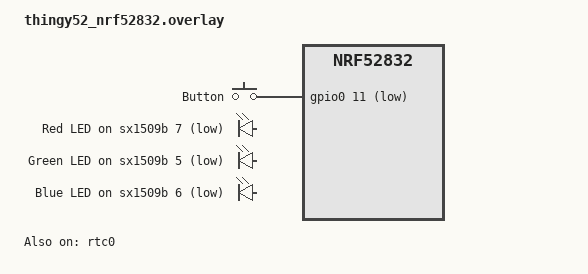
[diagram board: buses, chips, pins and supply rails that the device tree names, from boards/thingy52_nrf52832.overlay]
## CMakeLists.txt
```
cmake_minimum_required(VERSION 3.20.0)
find_package(Zephyr REQUIRED HINTS $ENV{ZEPHYR_BASE})
project(FinalProject)

target_sources(app PRIVATE src/main.c)
target_sources(app PRIVATE src/sp02_algorithm.c)
# target_sources(app PRIVATE src/heart_rate_sensor.c)
# target_sources(app PRIVATE src/temperature_sensor.c)


target_include_directories(app PRIVATE src/sp02_algorithm.h)
```

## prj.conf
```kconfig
CONFIG_I2C=y

CONFIG_UART_CONSOLE=y
CONFIG_SERIAL=y

CONFIG_MAIN_STACK_SIZE=8192

CONFIG_SENSOR=y
CONFIG_MAX30101=y

CONFIG_SHELL=y
CONFIG_SHELL_BACKEND_SERIAL=y

CONFIG_LOG=y
CONFIG_LOG_DEFAULT_LEVEL=3 
CONFIG_SHELL_LOG_BACKEND=y 

CONFIG_NEWLIB_LIBC_FLOAT_PRINTF=y
CONFIG_CBPRINTF_FP_SUPPORT=y

CONFIG_MAX30101_MULTI_LED_MODE=y
CONFIG_MAX30101_SPO2_MODE=y

CONFIG_MAX30101_LED1_PA=0x3C
CONFIG_MAX30101_LED2_PA=0x3C

CONFIG_MAX30101_SR=2
CONFIG_SHELL=y 
CONFIG_LOG=y 
CONFIG_LOG_CMDS=y 
CONFIG_SHELL_AUTOSTART=y 
CONFIG_GPIO=y 
CONFIG_HEAP_MEM_POOL_SIZE=4096 
CONFIG_COUNTER=y 
CONFIG_UART_RTT=y
CONFIG_UART_CONSOLE=n
CONFIG_RTT_CONSOLE=y 
CONFIG_USE_SEGGER_RTT=y 
CONFIG_SHELL_BACKEND_RTT=y 
CONFIG_SHELL_LOG_BACKEND=y
CONFIG_LOG_BACKEND_RTT_BUFFER=1 
CONFIG_LOG_BACKEND_RTT_BUFFER_SIZE=256
CONFIG_SEGGER_RTT_BUFFER_SIZE_UP=1024 
CONFIG_SEGGER_RTT_BUFFER_SIZE_DOWN=64 
CONFIG_NEWLIB_LIBC=y 
CONFIG_NEWLIB_LIBC_FLOAT_PRINTF=y 
CONFIG_CBPRINTF_FP_SUPPORT=y 
CONFIG_SENSOR=y 
CONFIG_I2C=y 
CONFIG_PRINTK=y
```

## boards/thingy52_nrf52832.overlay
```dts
/ {
	aliases {
		button0 = &button0;
	};

	buttons {
		compatible = "gpio-keys";
		button0: button_0 {
			gpios = <&gpio0 11 (GPIO_PULL_UP | GPIO_ACTIVE_LOW)>;
			label = "Button";
			zephyr,code = <INPUT_KEY_0>;
		};
	};

};


&rtc0 {
	    status = "okay";
};



/ {
	aliases {
		led0 = &led0;
		led1 = &led1;
		led2 = &led2;
		sw0 = &button0;
		watchdog0 = &wdt0;
		accel0 = &lis2dh12;
	};

	leds {
		compatible = "gpio-leds";
		/* Lightwell RGB */
		led0: led_0 {
			gpios = <&sx1509b 7 GPIO_ACTIVE_LOW>;
			label = "Red LED";
			//vin-supply = <&vdd_pwr>;
		};
		led1: led_1 {
			gpios = <&sx1509b 5 GPIO_ACTIVE_LOW>;
			label = "Green LED";
			//vin-supply = <&vdd_pwr>;
		};
		led2: led_2 {
			gpios = <&sx1509b 6 GPIO_ACTIVE_LOW>;
			label = "Blue LED";
			//vin-supply = <&vdd_pwr>;
		};
	};
};
```

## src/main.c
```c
#include <zephyr/kernel.h>
#include <zephyr/device.h>
#include <zephyr/drivers/rtc.h>
#include <zephyr/sys/util.h>

#include <zephyr/shell/shell.h>
#include <zephyr/logging/log.h>
#include <zephyr/logging/log_ctrl.h>

#include <zephyr/drivers/i2c.h>
#include <zephyr/sys/printk.h>

#include <zephyr/drivers/sensor.h>

#include <stdlib.h>

#include <zephyr/drivers/sensor/ccs811.h>
#include <stdio.h>

#define DT_DRV_COMPAT maxim_max30101

#define MAX30101_REG_INT_STS1		0x00
#define MAX30101_REG_INT_STS2		0x01
#define MAX30101_REG_INT_EN1		0x02
#define MAX30101_REG_INT_EN2		0x03
#define MAX30101_REG_FIFO_WR		0x04
#define MAX30101_REG_FIFO_OVF		0x05
#define MAX30101_REG_FIFO_RD		0x06
#define MAX30101_REG_FIFO_DATA		0x07
#define MAX30101_REG_FIFO_CFG		0x08
#define MAX30101_REG_MODE_CFG		0x09
#define MAX30101_REG_SPO2_CFG		0x0a
#define MAX30101_REG_LED1_PA		0x0c
#define MAX30101_REG_LED2_PA		0x0d
#define MAX30101_REG_LED3_PA		0x0e
#define MAX30101_REG_PILOT_PA		0x10
#define MAX30101_REG_MULTI_LED		0x11
#define MAX30101_REG_TINT		0x1f
#define MAX30101_REG_TFRAC		0x20
#define MAX30101_REG_TEMP_CFG		0x21
#define MAX30101_REG_PROX_INT		0x30
#define MAX30101_REG_REV_ID		0xfe
#define MAX30101_REG_PART_ID		0xff

#define MAX30101_INT_PPG_MASK		(1 << 6)

#define MAX30101_FIFO_CFG_SMP_AVE_SHIFT		5
#define MAX30101_FIFO_CFG_FIFO_FULL_SHIFT	0
#define MAX30101_FIFO_CFG_ROLLOVER_EN_MASK	(1 << 4)

#define MAX30101_MODE_CFG_SHDN_MASK	(1 << 7)
#define MAX30101_MODE_CFG_RESET_MASK	(1 << 6)

#define MAX30101_SPO2_ADC_RGE_SHIFT	5
#define MAX30101_SPO2_SR_SHIFT		2
#define MAX30101_SPO2_PW_SHIFT		0

#define MAX30101_PART_ID		0x15

#define MAX30101_BYTES_PER_CHANNEL	3
#define MAX30101_MAX_NUM_CHANNELS	3
#define MAX30101_MAX_BYTES_PER_SAMPLE	(MAX30101_MAX_NUM_CHANNELS * \
					 MAX30101_BYTES_PER_CHANNEL)

#define MAX30101_SLOT_LED_MASK		0x03

#define MAX30101_FIFO_DATA_BITS		18
#define MAX30101_FIFO_DATA_MASK		((1 << MAX30101_FIFO_DATA_BITS) - 1)

#define MAX30101_SPO2_PW_MASK (0x3 << MAX30101_SPO2_PW_SHIFT)

LOG_MODULE_REGISTER(max30102_logger, LOG_LEVEL_DBG); 

#define MAX30102_I2C_ADDR        0x57 // verified 

const struct device *const max30101 = DEVICE_DT_GET_ANY(maxim_max30101);

enum max30101_mode {
	MAX30101_MODE_HEART_RATE	= 2,
	MAX30101_MODE_SPO2		= 3,
	MAX30101_MODE_MULTI_LED		= 7,
};

enum max30101_slot {
	MAX30101_SLOT_DISABLED		= 0,
	MAX30101_SLOT_RED_LED1_PA,
	MAX30101_SLOT_IR_LED2_PA,
	MAX30101_SLOT_GREEN_LED3_PA,
	MAX30101_SLOT_RED_PILOT_PA,
	MAX30101_SLOT_IR_PILOT_PA,
	MAX30101_SLOT_GREEN_PILOT_PA,
};

enum max30101_led_channel {
	MAX30101_LED_CHANNEL_RED	= 0,
	MAX30101_LED_CHANNEL_IR,
	MAX30101_LED_CHANNEL_GREEN,
};

enum max30101_pw {
	MAX30101_PW_15BITS		= 0,
	MAX30101_PW_16BITS      = 1,
	MAX30101_PW_17BITS      = 2,
	MAX30101_PW_18BITS      = 3,
};

struct max30101_config {
	struct i2c_dt_spec i2c;
	uint8_t fifo;
	uint8_t spo2;
	uint8_t led_pa[MAX30101_MAX_NUM_CHANNELS];
	enum max30101_mode mode;
	enum max30101_slot slot[4];
};

struct max30101_data {
	uint32_t raw[MAX30101_MAX_NUM_CHANNELS];
	uint8_t map[MAX30101_MAX_NUM_CHANNELS];
	uint8_t num_channels;
};

static int max30101_sample_fetch(const struct device *dev,
    enum sensor_channel chan)
{
struct max30101_data *data = dev->data;
const struct max30101_config *config = dev->config;
uint8_t buffer[MAX30101_MAX_BYTES_PER_SAMPLE];
uint32_t fifo_data;
int fifo_chan;
int num_bytes;
int i;

/* Read all the active channels for one sample */
num_bytes = data->num_channels * MAX30101_BYTES_PER_CHANNEL;
if (i2c_burst_read_dt(&config->i2c, MAX30101_REG_FIFO_DATA, buffer,
     num_bytes)) {
LOG_ERR("Could not fetch sample");
return -EIO;
}

fifo_chan = 0;
for (i = 0; i < num_bytes; i += 3) {
/* Each channel is 18-bits */
fifo_data = (buffer[i] << 16) | (buffer[i + 1] << 8) |
   (buffer[i + 2]);
fifo_data &= MAX30101_FIFO_DATA_MASK;

/* Save the raw data */
data->raw[fifo_chan++] = fifo_data;
}

return 0;
}

static int max30101_channel_get(const struct device *dev,
    enum sensor_channel chan,
    struct sensor_value *val)
{
struct max30101_data *data = dev->data;
enum max30101_led_channel led_chan;
int fifo_chan;

switch (chan) {
case SENSOR_CHAN_RED:
led_chan = MAX30101_LED_CHANNEL_RED;
break;

case SENSOR_CHAN_IR:
led_chan = MAX30101_LED_CHANNEL_IR;
break;

case SENSOR_CHAN_GREEN:
led_chan = MAX30101_LED_CHANNEL_GREEN;
break;

default:
LOG_ERR("Unsupported sensor channel");
return -ENOTSUP;
}

/* Check if the led channel is active by looking up the associated fifo
* channel. If the fifo channel isn't valid, then the led channel
* isn't active.
*/
fifo_chan = data->map[led_chan];
if (fifo_chan >= MAX30101_MAX_NUM_CHANNELS) {
LOG_ERR("Inactive sensor channel");
return -ENOTSUP;
}

/* TODO: Scale the raw data to standard units */
val->val1 = data->raw[fifo_chan];
val->val2 = 0;

return 0;
}

static DEVICE_API(sensor, max30101_driver_api) = {
.sample_fetch = max30101_sample_fetch,
.channel_get = max30101_channel_get,
};

static int max30101_init(const struct device *dev)
{
	const struct max30101_config *config = dev->config;
	struct max30101_data *data = dev->data;
	uint8_t part_id;
	uint8_t mode_cfg;
	uint32_t led_chan;
	int fifo_chan;

	if (!device_is_ready(config->i2c.bus)) {
		LOG_ERR("Bus device is not ready");
		return -ENODEV;
	}

	/* Check the part id to make sure this is MAX30101 */
	if (i2c_reg_read_byte_dt(&config->i2c, MAX30101_REG_PART_ID,
				 &part_id)) {
		LOG_ERR("Could not get Part ID");
		return -EIO;
	}
	if (part_id != MAX30101_PART_ID) {
		LOG_ERR("Got Part ID 0x%02x, expected 0x%02x",
			    part_id, MAX30101_PART_ID);
		return -EIO;
	}

	/* Reset the sensor */
	if (i2c_reg_write_byte_dt(&config->i2c, MAX30101_REG_MODE_CFG,
				  MAX30101_MODE_CFG_RESET_MASK)) {
		return -EIO;
	}

	/* Wait for reset to be cleared */
	do {
		if (i2c_reg_read_byte_dt(&config->i2c, MAX30101_REG_MODE_CFG,
					 &mode_cfg)) {
			LOG_ERR("Could read mode cfg after reset");
			return -EIO;
		}
	} while (mode_cfg & MAX30101_MODE_CFG_RESET_MASK);

	/* Write the FIFO configuration register */
	if (i2c_reg_write_byte_dt(&config->i2c, MAX30101_REG_FIFO_CFG,
				  config->fifo)) {
		return -EIO;
	}

	/* Write the mode configuration register */
	if (i2c_reg_write_byte_dt(&config->i2c, MAX30101_REG_MODE_CFG,
				  config->mode)) {
		return -EIO;
	}

	/* Write the SpO2 configuration register */
	if (i2c_reg_write_byte_dt(&config->i2c, MAX30101_REG_SPO2_CFG,
        config->spo2)) {
		return -EIO;
	}

	/* Write the LED pulse amplitude registers */
	if (i2c_reg_write_byte_dt(&config->i2c, MAX30101_REG_LED1_PA,
				  config->led_pa[0])) {
		return -EIO;
	}
	if (i2c_reg_write_byte_dt(&config->i2c, MAX30101_REG_LED2_PA,
				  config->led_pa[1])) {
		return -EIO;
	}
	if (i2c_reg_write_byte_dt(&config->i2c, MAX30101_REG_LED3_PA,
				  config->led_pa[2])) {
		return -EIO;
	}

#ifdef CONFIG_MAX30101_MULTI_LED_MODE
	uint8_t multi_led[2];

	/* Write the multi-LED mode control registers */
	multi_led[0] = (config->slot[1] << 4) | (config->slot[0]);
	multi_led[1] = (config->slot[3] << 4) | (config->slot[2]);

	if (i2c_reg_write_byte_dt(&config->i2c, MAX30101_REG_MULTI_LED,
				  multi_led[0])) {
		return -EIO;
	}
	if (i2c_reg_write_byte_dt(&config->i2c, MAX30101_REG_MULTI_LED + 1,
				  multi_led[1])) {
		return -EIO;
	}
#endif

	/* Initialize the channel map and active channel count */
	data->num_channels = 0U;
	for (led_chan = 0U; led_chan < MAX30101_MAX_NUM_CHANNELS; led_chan++) {
		data->map[led_chan] = MAX30101_MAX_NUM_CHANNELS;
	}

	/* Count the number of active channels and build a map that translates
	 * the LED channel number (red/ir/green) to the fifo channel number.
	 */
	for (fifo_chan = 0; fifo_chan < MAX30101_MAX_NUM_CHANNELS;
	     fifo_chan++) {
		led_chan = (config->slot[fifo_chan] & MAX30101_SLOT_LED_MASK)-1;
		if (led_chan < MAX30101_MAX_NUM_CHANNELS) {
			data->map[led_chan] = fifo_chan;
			data->num_channels++;
		}
	}


	return 0;
}


// int32_t bufferLength; //data length
// int32_t spo2; //SPO2 value
// int8_t validSPO2; //indicator to show if the SPO2 calculation is valid
// int32_t heartRate; //heart rate value
// int8_t validHeartRate; //indicator to show if the heart rate calculation is valid

// uint32_t irBuffer[100]; //infrared LED sensor data
// uint32_t redBuffer[100];  //red LED sensor data


bool check_for_beat(uint32_t irValue) {
    static uint32_t prev_ir = 0;
    static bool rising = false;
    static int64_t last_beat_time = 0;
    static const int MIN_BEAT_INTERVAL_MS = 300; // 200 BPM max

    int64_t now = k_uptime_get();
    bool beat_detected = false;

    if (irValue > prev_ir) {
        rising = true;
    } else if (rising && irValue < prev_ir) {
        if (now - last_beat_time > MIN_BEAT_INTERVAL_MS) {
            beat_detected = true;
            last_beat_time = now;
        }
        rising = false;
    }

    prev_ir = irValue;
    return beat_detected;
}


#define MA_SIZE 20
static uint32_t ir_buffer[MA_SIZE] = {0};
static int ir_index = 0;

uint32_t moving_avg(uint32_t new_val) {
    ir_buffer[ir_index++] = new_val;
    ir_index %= MA_SIZE;

    uint32_t sum = 0;
    for (int i = 0; i < MA_SIZE; i++) {
        sum += ir_buffer[i];
    }
    return sum / MA_SIZE;
}

#define AMBIENT_IR_VALUE 	9000
#define NUMBER_OF_SAMPLES 	4

void hr_main(void) { 

    max30101_init(max30101); // Initalise the hr monitor

    uint16_t samples[4] = {60, 60, 60, 60}; // Array to hold the bpm values (initalised to an average so that calculations can begin immediatley)

    uint64_t start_sample_time = k_uptime_get(); // Set the inital sample time

	// Values to keep track 
    int beat_count = 0;
    int sample_number = 0;
	static int64_t last_beat_time = 0;

	// Data structures to hold the sample value
	struct sensor_value ir;
    uint32_t ir_value;

    while (1) { 

		uint64_t current_time_ms = k_uptime_get();	// Set the current time 

		// Get the IR sample from the hr monitor
		if (sensor_sample_fetch(max30101) < 0) {
            LOG_ERR("Sample fetch error");
            continue;
        }
        if (sensor_channel_get(max30101, SENSOR_CHAN_IR, &ir) < 0) {
            LOG_ERR("IR channel read error");
            continue;
        }

        ir_value = ir.val1; // Extract the interger value from the sensor struct

		if (ir_value < AMBIENT_IR_VALUE) { 
			// reset the timing values
			start_sample_time = k_uptime_get();
			current_time_ms = k_uptime_get();

			beat_count = 0; // Reset the beat count so that they dont get added to next valid values
			LOG_ERR("Finger not on the sensor"); // Might implement led functionality
		}

		// If the smaple time is 15 seconds, begin sample average calculations
        if (current_time_ms - start_sample_time >= 15000) {

            int bpm_avg_sample = beat_count * 4; // Multiply the beat count by 4 to get the average over a minute

            samples[sample_number] = bpm_avg_sample; // Set that value in the array to the current avg sample
            sample_number = (sample_number + 1) % 4; // Increment the sample index

            int total_sample = 0; // Initialise to hold sample total so that average can be calculated

			// add all the smaples together (might break out into a helper function)
            for (int i = 0; i < 4; i++) {
                total_sample += samples[i];
            }

            int bmp_avg = total_sample / NUMBER_OF_SAMPLES; // Get the average of the array
            printk("\nBPM: %d [%d, %d, %d, %d]\n", bmp_avg, samples[0], samples[1], samples[2], samples[3]); // Prit to the terminal for checking

            beat_count = 0; // Reset the beat count for the next 15 sec interval
            start_sample_time = current_time_ms;	// reset the sample time 
        }

		// Check whether a beat occured
        if (check_for_beat(moving_avg(ir_value))) { // Use the moving average to eliminate more noise
            int64_t now = k_uptime_get();	// Get the starting value to ensure the beat timing is valid

    		if (now - last_beat_time > 300) {  // At most 200 BPM
        	beat_count++; // INcrease the beat count
			// printk("%d\n", beat_count); 
        	last_beat_time = now; // reset the timing 
    		}
        }

        k_sleep(K_MSEC(10)); // 100 Hz sampling
    }
}

// void main(void) { 


// }





static bool app_fw_2;

static const char *now_str(void)
{
	static char buf[16]; /* ...HH:MM:SS.MMM */
	uint32_t now = k_uptime_get_32();
	unsigned int ms = now % MSEC_PER_SEC;
	unsigned int s;
	unsigned int min;
	unsigned int h;

	now /= MSEC_PER_SEC;
	s = now % 60U;
	now /= 60U;
	min = now % 60U;
	now /= 60U;
	h = now;

	snprintf(buf, sizeof(buf), "%u:%02u:%02u.%03u",
		 h, min, s, ms);
	return buf;
}

static int do_fetch(const struct device *dev)
{
	struct sensor_value co2, tvoc, voltage, current;
	int rc = 0;
	int baseline = -1;

	if (rc == 0) {
		rc = sensor_sample_fetch(dev);
	}
	if (rc == 0) {
		const struct ccs811_result_type *rp = ccs811_result(dev);

		sensor_channel_get(dev, SENSOR_CHAN_CO2, &co2);
		sensor_channel_get(dev, SENSOR_CHAN_VOC, &tvoc);
		printk("CCS811: %u ppm eCO2; %u ppb eTVOC\n",co2.val1, tvoc.val1);
	}
	return rc;
}

static void do_main(const struct device *dev)
{
	while (true) {
		int rc = do_fetch(dev);
		k_msleep(1000);
	}
}

int air_main(void)
{
	const struct device *const dev = DEVICE_DT_GET_ONE(ams_ccs811);
	struct ccs811_configver_type cfgver;
	int rc;

	if (!device_is_ready(dev)) {
		printk("Device %s is not ready\n", dev->name);
		return 0;
	}

	printk("device is %p, name is %s\n", dev, dev->name);

	rc = ccs811_configver_fetch(dev, &cfgver);
	if (rc == 0) {
		do_main(dev);
	}
	return 0;
}

K_THREAD_DEFINE(thr1_id, 1024, air_main, NULL, NULL, NULL,
	7, 0, 0);
K_THREAD_DEFINE(thr2_id, 1024, hr_main, NULL, NULL, NULL,
	7, 0, 0);
```
